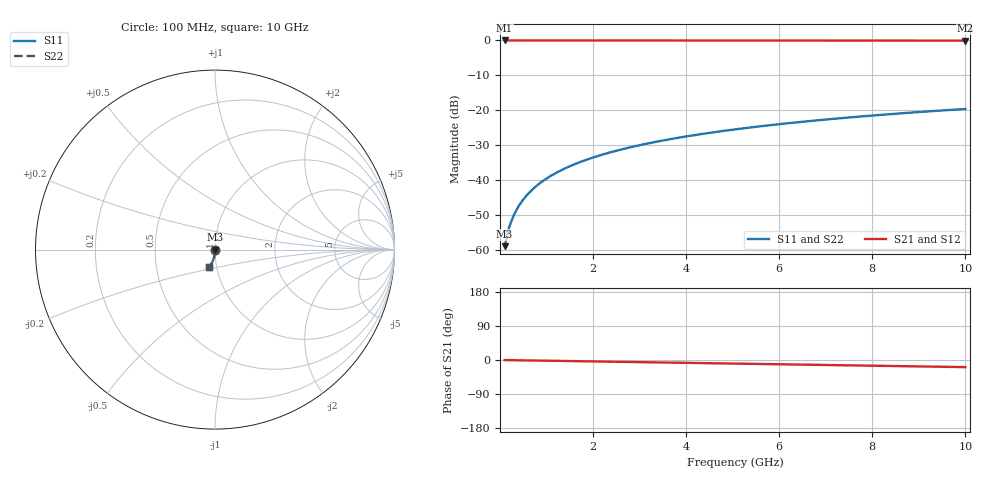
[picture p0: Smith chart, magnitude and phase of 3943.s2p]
# Hz S RI R 50.00
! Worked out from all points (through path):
!   100 points, 100 MHz to 10 GHz, reference 50 ohm
!   highest |S21| = 0.00 dB at 100 MHz (marker M1); lowest = -0.1 dB at 10 GHz (marker M2)
!   group delay of S21, straight-line fit = 5.23 ps
!   lowest |S11| = -58.9 dB at 100 MHz (marker M3), VSWR 1.00, Z = 50 - j0.106 ohm
!   |S11| at or under -10 dB: start of sweep to end of sweep
!   |S22| runs from -58.9 to -19.6 dB; largest |S21 - S12| = 0
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1e8  0.000428 -0.00106  0.9996 -0.00326  0.9996 -0.00326  0.000428 -0.00106
2e8  0.000419 -0.00212  0.9995 -0.00652  0.9995 -0.00652  0.000419 -0.00212
3e8  0.000402 -0.00317  0.9995 -0.00978  0.9995 -0.00978  0.000402 -0.00317
4e8  0.000377 -0.00423  0.9995 -0.013  0.9995 -0.013  0.000377 -0.00423
5e8  0.000346 -0.00529  0.9994 -0.0163  0.9994 -0.0163  0.000346 -0.00529
6e8  0.000307 -0.00635  0.9993 -0.0196  0.9993 -0.0196  0.000307 -0.00635
7e8  0.000261 -0.0074  0.9993 -0.0228  0.9993 -0.0228  0.000261 -0.0074
8e8  0.000209 -0.00846  0.9992 -0.0261  0.9992 -0.0261  0.000209 -0.00846
9e8  0.000149 -0.00952  0.9991 -0.0293  0.9991 -0.0293  0.000149 -0.00952
1.1e9  8.72e-06 -0.0116  0.9988 -0.0359  0.9988 -0.0359  8.72e-06 -0.0116
1.4e9  -0.000254 -0.0148  0.9984 -0.0456  0.9984 -0.0456  -0.000254 -0.0148
1.8e9  -0.000701 -0.019  0.9976 -0.0587  0.9976 -0.0587  -0.000701 -0.019
2.1e9  -0.00111 -0.0222  0.9969 -0.0685  0.9969 -0.0685  -0.00111 -0.0222
2.5e9  -0.00175 -0.0264  0.9958 -0.0815  0.9958 -0.0815  -0.00175 -0.0264
2.9e9  -0.0025 -0.0306  0.9945 -0.0945  0.9945 -0.0945  -0.0025 -0.0306
3.4e9  -0.0036 -0.0358  0.9927 -0.1108  0.9927 -0.1108  -0.0036 -0.0358
4.2e9  -0.00571 -0.0441  0.989 -0.1368  0.989 -0.1368  -0.00571 -0.0441
5.1e9  -0.0086 -0.0533  0.9841 -0.1659  0.9841 -0.1659  -0.0086 -0.0533
5.9e9  -0.0116 -0.0613  0.9789 -0.1916  0.9789 -0.1916  -0.0116 -0.0613
6.7e9  -0.0151 -0.0691  0.9729 -0.2172  0.9729 -0.2172  -0.0151 -0.0691
8.4e9  -0.0238 -0.0851  0.9578 -0.2711  0.9578 -0.2711  -0.0238 -0.0851
1e10  -0.0335 -0.0992  0.9406 -0.3208  0.9406 -0.3208  -0.0335 -0.0992
